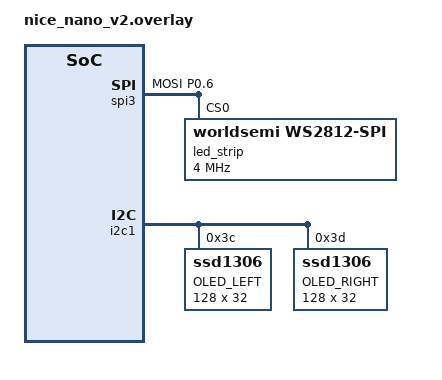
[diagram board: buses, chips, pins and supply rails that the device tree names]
#include <dt-bindings/led/led.h>

&pinctrl {
    spi3_default: spi3_default {
        group1 {
            psels = <NRF_PSEL(SPIM_MOSI, 0, 6)>;
        };
    };

    spi3_sleep: spi3_sleep {
        group1 {
            psels = <NRF_PSEL(SPIM_MOSI, 0, 6)>;
            low-power-enable;
        };
    };
};

&spi3 {
    compatible = "nordic,nrf-spim";
    status = "okay";

    pinctrl-0 = <&spi3_default>;
    pinctrl-1 = <&spi3_sleep>;
    pinctrl-names = "default", "sleep";

    led_strip: ws2812@0 {
        compatible = "worldsemi,ws2812-spi";

        /* SPI */
        reg = <0>; /* ignored, but necessary for SPI bindings */
        spi-max-frequency = <4000000>;

        /* WS2812 */
        chain-length = <37>; /* number of LEDs */
        spi-one-frame = <0x70>;
        spi-zero-frame = <0x40>;

        color-mapping = <
            LED_COLOR_ID_GREEN
            LED_COLOR_ID_RED
            LED_COLOR_ID_BLUE
        >;
    };
};

&i2c1 {
    status = "okay";
    sda-pin = <&gpio0 26>;
    scl-pin = <&gpio0 27>;

    oled_left: oled@3c {
        compatible = "ssd1306";
        reg=<0x3c>;
        label = "OLED_LEFT";
        height = <32>;
        width = <128>;
    };

    oled_right: oled@3d {
        compatible = "ssd1306";
        reg = <0x3d>;
        label = "OLED_RIGHT";
        height = <32>;
        width = <128>;
    };
};

/ {
    chosen {
        zmk,underglow = &led_strip;
    };
};
